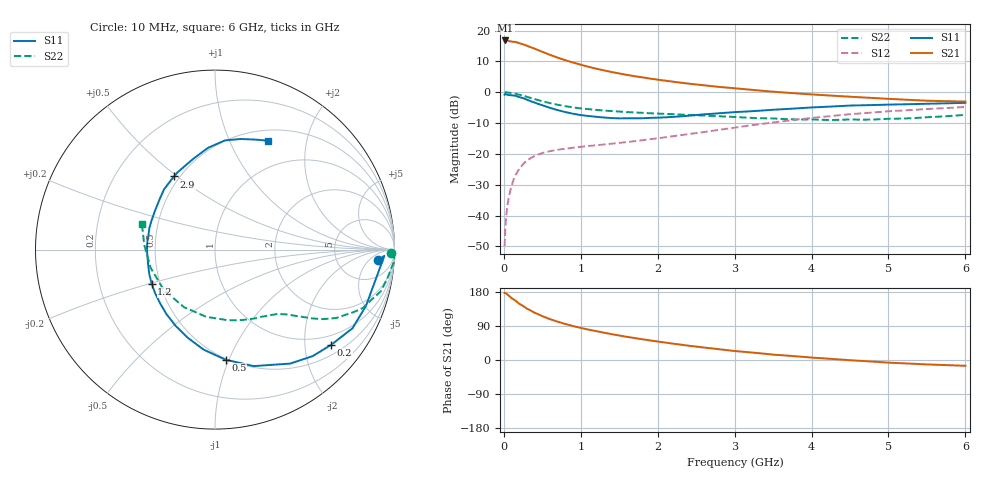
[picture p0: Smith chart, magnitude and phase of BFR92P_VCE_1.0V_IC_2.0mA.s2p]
! Infineon Technologies  Discrete & RF Semiconductors
! BFR92P
! VCE =  1.0 V,  IC =  2.0 mA
! Common Emitter S-Parameters:  Apr 2014
# GHz  S  MA  R  50
!  f  S11  S21  S12  S22
! GHz  MAG  ANG  MAG  ANG  MAG  ANG  MAG  ANG
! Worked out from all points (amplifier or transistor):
!   77 points, 10 MHz to 6 GHz, reference 50 ohm
!   highest |S21| = 16.8 dB at 20 MHz (marker M1)
!   |S21| within 3 dB of that: start of sweep to 432.6 MHz
!   unconditionally stable (mu >= 1): 1.331 GHz to 3.411 GHz
!   at 130 MHz: K = 0.12, MSG = 22.2 dB, |S12| = -28.1 dB
!   at 2.2 GHz: K = 1.14, MAG = 6.6 dB, |S12| = -14.2 dB
!   at 6 GHz: K = 0.94, MSG = 0.9 dB, |S12| = -4.8 dB
!   S11 on the Smith chart (normalised r, x): 10 MHz: 15, -10; 200 MHz: 0.74, -2.61; 500 MHz: 0.49, -0.97; 1.2 GHz: 0.45, -0.20; 2.9 GHz: 0.47, +0.49; 6 GHz: 0.63, +1.41
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0.01  0.9114 -3.6  6.77 177.1  0.0032 88.7  0.9831 -1.2
0.02  0.9444 -2.1  6.935 177.0  0.0063 87.9  1 -2.0
0.04  0.9204 -7.4  6.896 173.8  0.0125 84.2  0.9999 -3.9
0.08  0.8998 -16.3  6.725 167.0  0.0243 79.3  0.9812 -7.6
0.1  0.8977 -20.4  6.651 163.4  0.0302 77.9  0.9739 -9.5
0.15  0.8825 -29.8  6.57 156.8  0.0454 74.0  0.9526 -14.1
0.2  0.8366 -39.4  6.265 148.5  0.0572 68.2  0.9152 -17.8
0.3  0.7607 -56.6  5.698 135.5  0.0785 59.8  0.8441 -24.5
0.4  0.6841 -71.6  5.104 124.7  0.0932 53.6  0.776 -29.4
0.5  0.6164 -84.5  4.543 115.7  0.1038 49.2  0.7169 -32.7
0.6  0.5609 -96.5  4.052 107.8  0.1111 46.2  0.6674 -35.1
0.8  0.4782 -117.3  3.313 95.0  0.1217 42.4  0.5958 -38.6
0.9  0.4495 -127.1  3.04 89.5  0.1264 41.5  0.57 -40.1
1.1  0.4129 -143.8  2.593 80.2  0.135 41.2  0.534 -42.5
1.2  0.4009 -151.7  2.418 76.2  0.1383 41.4  0.5193 -43.9
1.6  0.3791 179.0  1.917 61.1  0.1562 43.8  0.4787 -49.6
2.1  0.3926 151.1  1.544 46.0  0.187 47.1  0.4469 -58.2
2.9  0.4672 119.2  1.193 26.1  0.257 47.9  0.4033 -77.2
3.1  0.4844 113.4  1.133 22.0  0.2786 46.8  0.3918 -83.5
4.1  0.5758 92.0  0.909 5.1  0.3951 38.1  0.3593 -122.8
5.1  0.6355 75.6  0.773 -7.9  0.5004 24.3  0.3736 -168.3
6  0.6754 63.9  0.708 -15.3  0.5785 11.3  0.4322 160.5
